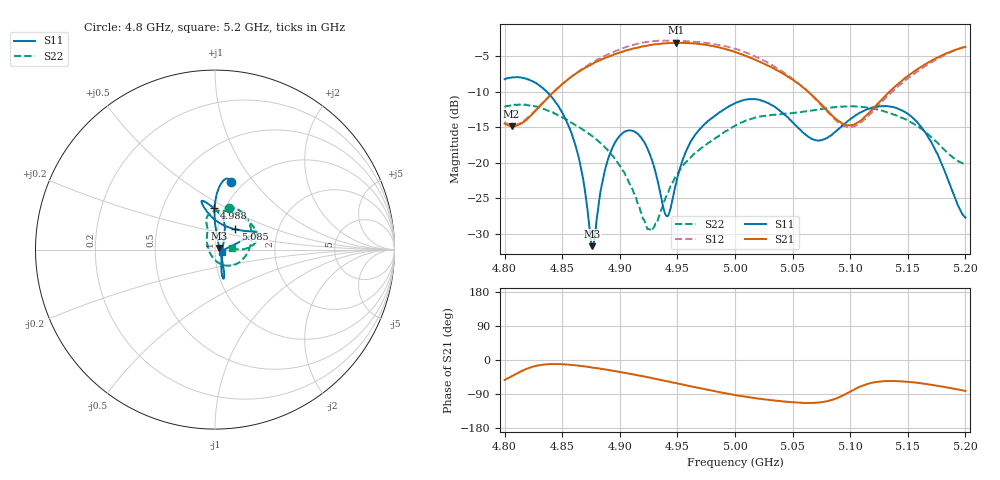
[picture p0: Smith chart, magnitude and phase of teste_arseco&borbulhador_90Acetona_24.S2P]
! Network Analyzer HP8722D
! Hewlett-Packard
! Data name: Linha & Wilkinson
! Saver's name: Rodrigo Anjos
! Comments: Teste da utilização de aquisição
! continua pelo VNA HP8722D
! Time and date: 17/4/2025 11:15
!  Frequency  S11  S21  S12  S22
# HZ  S  MA R 50
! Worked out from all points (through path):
!   401 points, 4.8 GHz to 5.2 GHz, reference 50 ohm
!   highest |S21| = -3.06 dB at 4.949 GHz (marker M1); lowest = -14.8 dB at 4.806 GHz (marker M2)
!   lowest |S11| = -31.8 dB at 4.876 GHz (marker M3), VSWR 1.05, Z = 52.4 + j1.01 ohm
!   |S11| at or under -10 dB: 4.837 GHz to end of sweep
!   |S22| runs from -29.6 to -11.8 dB; largest |S21 - S12| = 1.4
!   S11 on the Smith chart (normalised r, x): 4.8 GHz: 0.87, +0.78; 4.988 GHz: 0.89, +0.43; 5.085 GHz: 1.22, +0.28; 5.2 GHz: 1.08, -0.03
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4.8e9  0.389 76.9  0.1892 -52.8  0.193 82.1  0.2463 72.1
4.806e9  0.3998 78.6  0.1813 -43.2  0.1842 90.9  0.2558 67.0
4.844e9  0.2695 89.6  0.3241 -10.7  0.3243 122.8  0.2204 22.8
4.858e9  0.1624 90.2  0.4046 -12.9  0.4058 122.4  0.1915 1.6
4.867e9  0.08572 84.4  0.453 -15.9  0.4581 121.1  0.1736 -12.3
4.876e9  0.02578 21.9  0.4978 -19.8  0.5096 118.8  0.1543 -26.7
4.889e9  0.1008 -63.6  0.556 -25.7  0.578 114.6  0.1244 -46.0
4.902e9  0.1607 -71.6  0.6067 -32.6  0.6411 108.9  0.08987 -66.3
4.925e9  0.1206 -72.9  0.6748 -45.7  0.7144 96.1  0.03418 -143.3
4.934e9  0.06728 -57.6  0.6888 -51.7  0.7269 90.4  0.0419 160.5
4.941e9  0.04189 -6.7  0.6993 -56.1  0.7279 85.9  0.06009 138.2
4.949e9  0.07206 47.3  0.7034 -61.1  0.7275 80.7  0.08121 124.3
4.963e9  0.147 68.8  0.6977 -70.2  0.715 72.0  0.1119 111.8
4.988e9  0.2301 91.6  0.6444 -85.7  0.6737 55.8  0.1597 107.7
5e9  0.2635 99.9  0.6045 -92.4  0.6378 48.4  0.182 104.9
5.028e9  0.2649 105.6  0.4865 -104.5  0.5112 34.1  0.2158 88.7
5.067e9  0.1472 76.7  0.2991 -113.3  0.2966 27.6  0.2333 54.3
5.085e9  0.1605 45.0  0.2125 -104.8  0.2082 38.3  0.2465 37.2
5.104e9  0.2142 28.6  0.1874 -77.0  0.181 67.6  0.2497 22.5
5.134e9  0.2495 23.2  0.317 -55.4  0.3029 90.9  0.2247 8.8
5.164e9  0.1688 18.9  0.4886 -62.6  0.4738 85.2  0.1679 1.4
5.2e9  0.04103 -17.6  0.6576 -81.6  0.6603 67.5  0.09716 5.4
